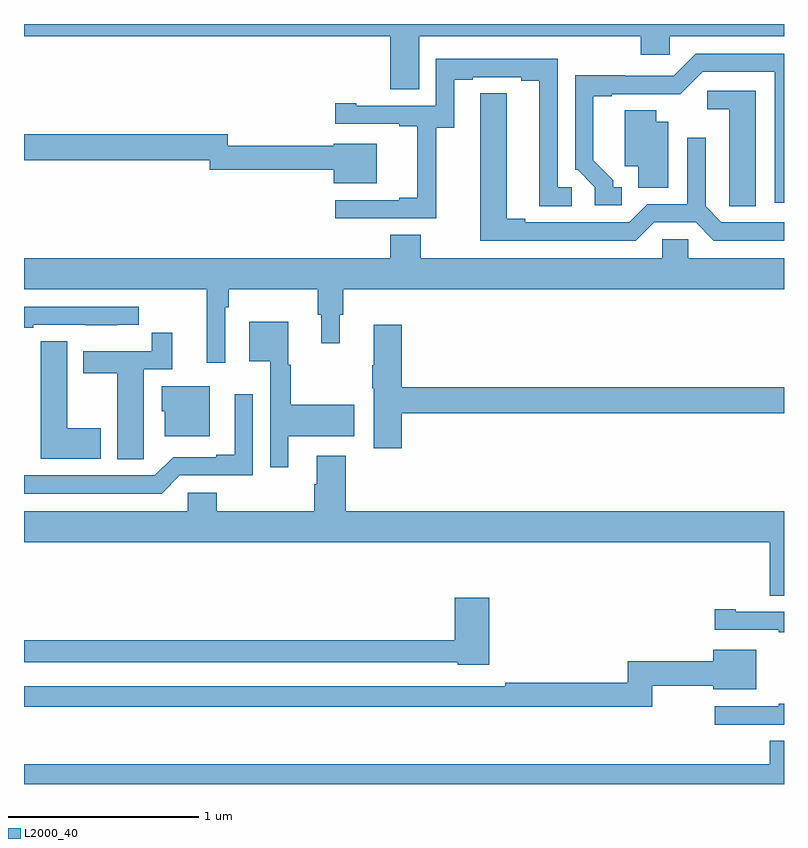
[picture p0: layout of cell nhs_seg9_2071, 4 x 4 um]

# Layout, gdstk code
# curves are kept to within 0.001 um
import gdstk
lib = gdstk.Library(unit=1e-6, precision=1e-09)
def P(c, l, *ps):  # polygons
    for p in ps: c.add(gdstk.Polygon(p, *l))
L2000_40 = (2000, 40)

nhs_seg9_2071 = lib.new_cell('nhs_seg9_2071')
P(nhs_seg9_2071, L2000_40, [(231.079,1180.436),(232.247,1180.436),(232.247,1180.338),(232.398,1180.338),(232.398,1180.436),(233,1180.436),(233,1180.5),(229,1180.5),(229,1180.436),(230.927,1180.436),(230.927,1180.156),(231.079,1180.156)],
  [(232.147,1179.642),(232.102,1179.642),(232.102,1179.677),(231.997,1179.782),(231.997,1180.119),(232.093,1180.119),(232.093,1180.131),(232.454,1180.13),(232.572,1180.248),(232.952,1180.248),(232.952,1179.558),(233,1179.558),(233,1180.344),(232.536,1180.344),(232.419,1180.227),(232.163,1180.227),(232.163,1180.229),(231.9,1180.229),(231.9,1179.732),(231.915,1179.732),(232.005,1179.642),(232.005,1179.546),(232.147,1179.546)],
  [(231.171,1179.955),(231.265,1179.955),(231.265,1180.206),(231.361,1180.206),(231.361,1180.221),(231.617,1180.221),(231.617,1180.201),(231.713,1180.201),(231.713,1179.541),(231.883,1179.541),(231.883,1179.642),(231.81,1179.642),(231.81,1180.317),(231.168,1180.317),(231.168,1180.071),(230.749,1180.071),(230.749,1180.084),(230.637,1180.084),(230.637,1179.975),(230.975,1179.975),(230.975,1179.963),(231.071,1179.963),(231.071,1179.586),(230.975,1179.586),(230.975,1179.573),(230.637,1179.573),(230.637,1179.477),(231.171,1179.477)],
  [(232.852,1180.149),(232.596,1180.149),(232.596,1180.052),(232.712,1180.052),(232.712,1179.649),(232.713,1179.649),(232.713,1179.541),(232.852,1179.541)],
  [(232.317,1179.456),(232.535,1179.456),(232.631,1179.36),(233,1179.36),(233,1179.456),(232.671,1179.456),(232.587,1179.54),(232.587,1179.901),(232.491,1179.901),(232.491,1179.552),(232.281,1179.552),(232.185,1179.456),(231.637,1179.456),(231.637,1179.476),(231.541,1179.476),(231.541,1180.136),(231.402,1180.136),(231.401,1179.36),(232.221,1179.36)],
  [(232.39,1179.985),(232.327,1179.985),(232.327,1180.046),(232.163,1180.046),(232.163,1179.752),(232.232,1179.752),(232.232,1179.637),(232.39,1179.637)],
  [(230.857,1179.871),(230.63,1179.871),(230.63,1179.86),(230.073,1179.86),(230.073,1179.92),(229,1179.92),(229,1179.784),(229.977,1179.784),(229.977,1179.732),(230.63,1179.732),(230.63,1179.662),(230.857,1179.662)],
  [(230.058,1179.008),(230.078,1179.008),(230.078,1179.104),(230.545,1179.104),(230.545,1178.97),(230.564,1178.97),(230.564,1178.82),(230.662,1178.82),(230.662,1178.97),(230.681,1178.97),(230.681,1179.104),(233,1179.104),(233,1179.268),(232.497,1179.268),(232.497,1179.366),(232.359,1179.366),(232.359,1179.268),(231.087,1179.268),(231.087,1179.392),(230.927,1179.392),(230.927,1179.268),(229,1179.268),(229,1179.104),(229.961,1179.104),(229.961,1178.718),(230.058,1178.718)],
  [(229.048,1178.916),(229.324,1178.916),(229.324,1178.915),(229.49,1178.915),(229.49,1178.916),(229.603,1178.916),(229.603,1179.012),(229,1179.012),(229,1178.901),(229.048,1178.901)],
  [(230.392,1178.33),(230.737,1178.33),(230.737,1178.496),(230.404,1178.496),(230.404,1178.706),(230.392,1178.706),(230.392,1178.932),(230.186,1178.932),(230.186,1178.726),(230.295,1178.726),(230.295,1178.166),(230.392,1178.166)],
  [(230.987,1178.452),(233,1178.452),(233,1178.588),(230.987,1178.588),(230.987,1178.917),(230.84,1178.917),(230.84,1178.704),(230.833,1178.704),(230.833,1178.584),(230.84,1178.584),(230.84,1178.268),(230.987,1178.268)],
  [(229.629,1178.32),(229.63,1178.32),(229.63,1178.682),(229.781,1178.682),(229.781,1178.875),(229.672,1178.875),(229.672,1178.778),(229.313,1178.778),(229.313,1178.662),(229.49,1178.662),(229.49,1178.209),(229.629,1178.209)],
  [(229.405,1178.373),(229.228,1178.373),(229.228,1178.831),(229.089,1178.831),(229.089,1178.723),(229.088,1178.723),(229.088,1178.213),(229.405,1178.213)],
  [(229.978,1178.593),(229.724,1178.593),(229.724,1178.463),(229.742,1178.463),(229.742,1178.33),(229.978,1178.33)],
  [(229.821,1178.124),(230.205,1178.124),(230.205,1178.551),(230.108,1178.551),(230.108,1178.233),(230.012,1178.233),(230.012,1178.22),(229.785,1178.22),(229.689,1178.124),(229,1178.124),(229,1178.028),(229.725,1178.028)],
  [(233,1177.936),(230.693,1177.936),(230.693,1178.227),(230.54,1178.227),(230.54,1178.078),(230.528,1178.078),(230.528,1177.936),(230.015,1177.936),(230.015,1178.034),(229.863,1178.034),(229.863,1177.936),(229,1177.936),(229,1177.772),(232.925,1177.772),(232.925,1177.492),(233,1177.492)],
  [(231.449,1177.48),(231.266,1177.48),(231.266,1177.256),(229,1177.256),(229,1177.14),(231.282,1177.14),(231.282,1177.127),(231.449,1177.127)],
  [(233,1177.407),(232.747,1177.407),(232.747,1177.42),(232.635,1177.42),(232.635,1177.311),(232.973,1177.311),(232.973,1177.299),(233,1177.299)],
  [(232.306,1177.017),(232.628,1177.017),(232.628,1176.998),(232.855,1176.998),(232.855,1177.207),(232.628,1177.207),(232.628,1177.145),(232.177,1177.145),(232.177,1177.034),(231.532,1177.034),(231.532,1177.014),(229,1177.014),(229,1176.906),(232.306,1176.906)],
  [(233,1176.922),(232.973,1176.922),(232.973,1176.909),(232.635,1176.909),(232.635,1176.813),(233,1176.813)],
  [(233,1176.728),(232.925,1176.728),(232.925,1176.604),(229,1176.604),(229,1176.5),(233,1176.5)])

lib.write_gds('nhs_seg9_2071.gds')
